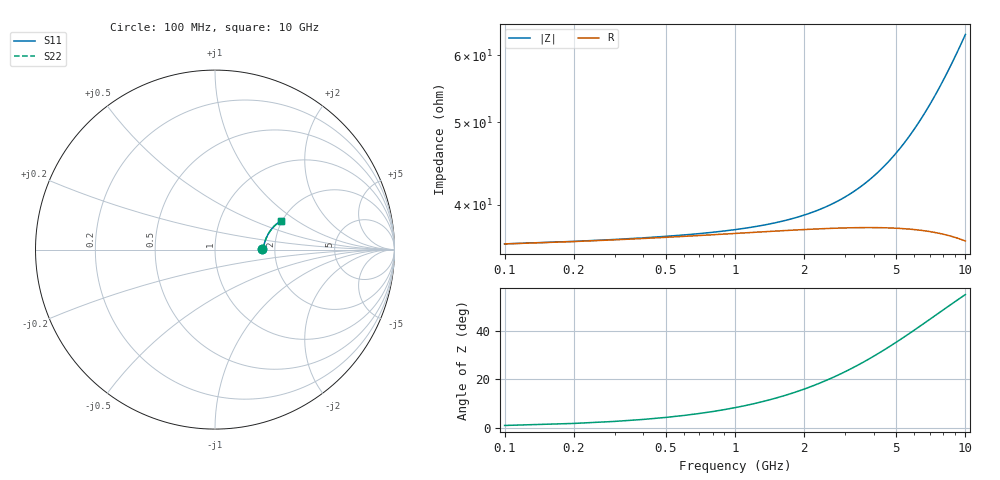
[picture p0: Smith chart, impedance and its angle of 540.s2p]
# Hz S RI R 50.00
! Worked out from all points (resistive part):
!   100 points, 100 MHz to 10 GHz, reference 50 ohm
!   read as one part in series: R = 35.9 ohm at 100 MHz
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1e8  0.2644 0.00205  0.7356 -0.00363  0.7356 -0.00363  0.2644 0.00205
2e8  0.2657 0.00408  0.7343 -0.00725  0.7343 -0.00725  0.2657 0.00408
4e8  0.2675 0.00811  0.7325 -0.0144  0.7325 -0.0144  0.2675 0.00811
9e8  0.2706 0.0181  0.7293 -0.0323  0.7293 -0.0323  0.2706 0.0181
1.4e9  0.2733 0.0279  0.7264 -0.05  0.7264 -0.05  0.2733 0.0279
1.8e9  0.2755 0.0356  0.724 -0.0641  0.724 -0.0641  0.2755 0.0356
2.2e9  0.2778 0.0432  0.7214 -0.078  0.7214 -0.078  0.2778 0.0432
2.6e9  0.2804 0.0508  0.7186 -0.0919  0.7186 -0.0919  0.2804 0.0508
3e9  0.2831 0.0582  0.7155 -0.1057  0.7155 -0.1057  0.2831 0.0582
3.4e9  0.2861 0.0655  0.7122 -0.1193  0.7122 -0.1193  0.2861 0.0655
3.8e9  0.2894 0.0727  0.7086 -0.1328  0.7086 -0.1328  0.2894 0.0727
4.2e9  0.2928 0.0797  0.7046 -0.1462  0.7046 -0.1462  0.2928 0.0797
4.6e9  0.2965 0.0866  0.7004 -0.1594  0.7004 -0.1594  0.2965 0.0866
5.1e9  0.3015 0.0949  0.6948 -0.1757  0.6948 -0.1757  0.3015 0.0949
5.5e9  0.3057 0.1014  0.6899 -0.1885  0.6899 -0.1885  0.3057 0.1014
5.9e9  0.3101 0.1077  0.6848 -0.2012  0.6848 -0.2012  0.3101 0.1077
6.7e9  0.3197 0.1196  0.6738 -0.2259  0.6738 -0.2259  0.3197 0.1196
7.1e9  0.3248 0.1253  0.6679 -0.238  0.6679 -0.238  0.3248 0.1253
7.6e9  0.3314 0.1321  0.6602 -0.2527  0.6602 -0.2527  0.3314 0.1321
8.4e9  0.3426 0.1421  0.6472 -0.2756  0.6472 -0.2756  0.3426 0.1421
9.2e9  0.3544 0.1513  0.6333 -0.2975  0.6333 -0.2975  0.3544 0.1513
1e10  0.3667 0.1594  0.6187 -0.3185  0.6187 -0.3185  0.3667 0.1594
